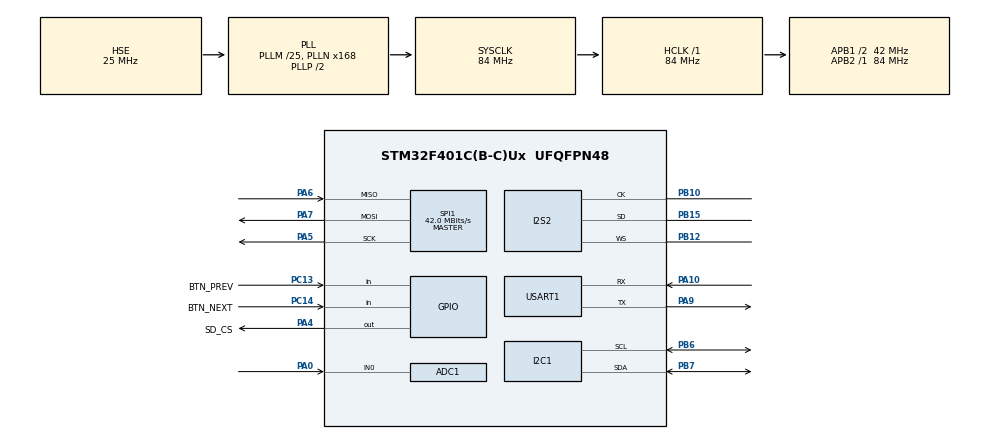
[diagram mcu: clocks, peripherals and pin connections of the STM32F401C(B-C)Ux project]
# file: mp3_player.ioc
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ADC1.Channel-1\#ChannelRegularConversion=ADC_CHANNEL_0
ADC1.NbrOfConversionFlag=1
ADC1.Rank-1\#ChannelRegularConversion=1
ADC1.SamplingTime-1\#ChannelRegularConversion=ADC_SAMPLETIME_3CYCLES
ADC1.master=1
Dma.Request0=SPI2_TX
Dma.SPI2_TX.0.Direction=DMA_MEMORY_TO_PERIPH
Dma.SPI2_TX.0.FIFOMode=DMA_FIFOMODE_DISABLE
Dma.SPI2_TX.0.Instance=DMA1_Stream4
Dma.SPI2_TX.0.MemDataAlignment=DMA_MDATAALIGN_HALFWORD
Dma.SPI2_TX.0.MemInc=DMA_MINC_ENABLE
Dma.SPI2_TX.0.Mode=DMA_CIRCULAR
Dma.SPI2_TX.0.PeriphDataAlignment=DMA_PDATAALIGN_HALFWORD
Dma.SPI2_TX.0.PeriphInc=DMA_PINC_DISABLE
Dma.SPI2_TX.0.Priority=DMA_PRIORITY_LOW
FATFS._USE_LFN=3
FREERTOS.BinarySemaphores01=dmaSem,Dynamic,NULL,Available
FREERTOS.Tasks01=defaultTask,24,1024,StartDefaultTask,Default,NULL,Dynamic,NULL,NULL;AudioTask,40,2048,StartAudioTask,Default,NULL,Dynamic,NULL,NULL
I2C1.I2C_Mode=I2C_Fast
I2S2.AudioFreq=I2S_AUDIOFREQ_48K
I2S2.ErrorAudioFreq=0.15 %
I2S2.FullDuplexMode=I2S_FULLDUPLEXMODE_DISABLE
I2S2.Instance=SPI$Index
I2S2.RealAudioFreq=48.076 KHz
I2S2.VirtualMode=I2S_MODE_MASTER
Mcu.Family=STM32F4
Mcu.Name=STM32F401C(B-C)Ux
Mcu.Package=UFQFPN48
NVIC.DMA1_Stream4_IRQn=true\:5\:0\:false\:false\:true\:true\:false\:true\:true
NVIC.PriorityGroup=NVIC_PRIORITYGROUP_4
NVIC.SPI2_IRQn=true\:5\:0\:false\:false\:true\:true\:true\:true\:true
NVIC.TIM3_IRQn=true\:15\:0\:false\:false\:true\:false\:false\:true\:true
NVIC.TimeBase=TIM3_IRQn
NVIC.TimeBaseIP=TIM3
PA0-WKUP.Signal=ADCx_IN0
PA10.Mode=Asynchronous
PA10.Signal=USART1_RX
PA13.Mode=Serial_Wire
PA13.Signal=SYS_JTMS-SWDIO
PA14.Mode=Serial_Wire
PA14.Signal=SYS_JTCK-SWCLK
PA4.GPIO_Label=SD_CS
PA4.PinState=GPIO_PIN_SET
PA4.Signal=GPIO_Output
PA5.Mode=Full_Duplex_Master
PA5.Signal=SPI1_SCK
PA6.Mode=Full_Duplex_Master
PA6.Signal=SPI1_MISO
PA7.Mode=Full_Duplex_Master
PA7.Signal=SPI1_MOSI
PA9.Mode=Asynchronous
PA9.Signal=USART1_TX
PB10.Mode=Half_Duplex_Master
PB10.Signal=I2S2_CK
PB12.Mode=Half_Duplex_Master
PB12.Signal=I2S2_WS
PB15.Mode=Half_Duplex_Master
PB15.Signal=I2S2_SD
PB6.GPIO_Pu=GPIO_PULLUP
PB6.Mode=I2C
PB6.Signal=I2C1_SCL
PB7.GPIO_Pu=GPIO_PULLUP
PB7.Mode=I2C
PB7.Signal=I2C1_SDA
PC13-ANTI_TAMP.GPIO_Label=BTN_PREV
PC13-ANTI_TAMP.GPIO_PuPd=GPIO_PULLDOWN
PC13-ANTI_TAMP.Signal=GPIO_Input
PC14-OSC32_IN.GPIO_Label=BTN_NEXT
PC14-OSC32_IN.GPIO_PuPd=GPIO_PULLDOWN
PC14-OSC32_IN.Signal=GPIO_Input
PH0\ -\ OSC_IN.Mode=HSE-External-Oscillator
PH0\ -\ OSC_IN.Signal=RCC_OSC_IN
PH1\ -\ OSC_OUT.Mode=HSE-External-Oscillator
PH1\ -\ OSC_OUT.Signal=RCC_OSC_OUT
ProjectManager.HeapSize=0x200
ProjectManager.StackSize=0x400
ProjectManager.TargetToolchain=STM32CubeIDE
RCC.48MHZClocksFreq_Value=42000000
RCC.AHBFreq_Value=84000000
RCC.APB1CLKDivider=RCC_HCLK_DIV2
RCC.APB1Freq_Value=42000000
RCC.APB1TimFreq_Value=84000000
RCC.APB2Freq_Value=84000000
RCC.APB2TimFreq_Value=84000000
RCC.CortexFreq_Value=84000000
RCC.HCLKFreq_Value=84000000
RCC.HSE_VALUE=25000000
RCC.HSI_VALUE=16000000
RCC.LSE_VALUE=32768
RCC.PLLI2SN=240
RCC.PLLM=25
RCC.PLLN=168
RCC.PLLSourceVirtual=RCC_PLLSOURCE_HSE
RCC.SYSCLKFreq_VALUE=84000000
RCC.SYSCLKSource=RCC_SYSCLKSOURCE_PLLCLK
RCC.VCOOutputFreq_Value=168000000
SH.ADCx_IN0.0=ADC1_IN0,IN0
SPI1.BaudRatePrescaler=SPI_BAUDRATEPRESCALER_2
SPI1.CalculateBaudRate=42.0 MBits/s
SPI1.Direction=SPI_DIRECTION_2LINES
SPI1.Mode=SPI_MODE_MASTER
SPI1.VirtualType=VM_MASTER
USART1.VirtualMode=VM_ASYNC
VP_FATFS_VS_Generic.Mode=User_defined
VP_FREERTOS_VS_CMSIS_V2.Mode=CMSIS_V2
VP_SYS_VS_tim3.Mode=TIM3
board=custom

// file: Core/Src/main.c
/* USER CODE BEGIN Header */
/**
  ******************************************************************************
  * @file           : main.c
  * @brief          : Main program body
  ******************************************************************************
  * @attention
  *
  * Copyright (c) 2026 STMicroelectronics.
  * All rights reserved.
  *
  * This software is licensed under terms that can be found in the LICENSE file
  * in the root directory of this software component.
  * If no LICENSE file comes with this software, it is provided AS-IS.
  *
  ******************************************************************************
  */
/* USER CODE END Header */
#include "main.h"
#include "cmsis_os.h"
#include "fatfs.h"

/* USER CODE BEGIN Includes */
#include "app_player.h"
#include "app_sync.h"
/* USER CODE END Includes */

ADC_HandleTypeDef hadc1;

I2C_HandleTypeDef hi2c1;

I2S_HandleTypeDef hi2s2;
DMA_HandleTypeDef hdma_spi2_tx;

SPI_HandleTypeDef hspi1;

UART_HandleTypeDef huart1;

/* Definitions for defaultTask */
osThreadId_t defaultTaskHandle;
const osThreadAttr_t defaultTask_attributes = {
  .name = "defaultTask",
  .stack_size = 1024 * 4,
  .priority = (osPriority_t) osPriorityNormal,
};
/* Definitions for AudioTask */
osThreadId_t AudioTaskHandle;
const osThreadAttr_t AudioTask_attributes = {
  .name = "AudioTask",
  .stack_size = 2048 * 4,
  .priority = (osPriority_t) osPriorityHigh,
};
/* Definitions for dmaSem */
osSemaphoreId_t dmaSemHandle;
const osSemaphoreAttr_t dmaSem_attributes = {
  .name = "dmaSem"
};
/* USER CODE BEGIN PV */
osMutexId_t appMutexHandle;
const osMutexAttr_t appMutex_attributes = {
  .name = "appMutex"
};
osMessageQueueId_t cmdQueueHandle;
const osMessageQueueAttr_t cmdQueue_attributes = {
  .name = "cmdQueue"
};
/* USER CODE END PV */

void SystemClock_Config(void);
static void MX_GPIO_Init(void);
static void MX_DMA_Init(void);
static void MX_SPI1_Init(void);
static void MX_USART1_UART_Init(void);
static void MX_I2S2_Init(void);
static void MX_I2C1_Init(void);
static void MX_ADC1_Init(void);
void StartDefaultTask(void *argument);
void StartAudioTask(void *argument);

/* USER CODE BEGIN 0 */

int _write(int file, char *ptr, int len)
{
  (void)file;
  HAL_UART_Transmit(&huart1, (uint8_t *)ptr, len, 100);
  return len;
}

/* USER CODE END 0 */

int main(void)
{

  /* MCU Configuration--------------------------------------------------------*/

  /* Reset of all peripherals, Initializes the Flash interface and the Systick. */
  HAL_Init();

  /* Configure the system clock */
  SystemClock_Config();

  /* Initialize all configured peripherals */
  MX_GPIO_Init();
  MX_DMA_Init();
  MX_SPI1_Init();
  MX_USART1_UART_Init();
  MX_FATFS_Init();
  MX_I2S2_Init();
  MX_I2C1_Init();
  MX_ADC1_Init();

  /* Init scheduler */
  osKernelInitialize();

  /* USER CODE BEGIN RTOS_MUTEX */
  appMutexHandle = osMutexNew(&appMutex_attributes);
  /* USER CODE END RTOS_MUTEX */

  /* Create the semaphores(s) */
  /* creation of dmaSem */
  dmaSemHandle = osSemaphoreNew(4, 0, &dmaSem_attributes);

  /* USER CODE BEGIN RTOS_SEMAPHORES */
  /* (only dmaSem is created above) */
  /* USER CODE END RTOS_SEMAPHORES */

  /* USER CODE BEGIN RTOS_QUEUES */
  cmdQueueHandle = osMessageQueueNew(CMD_QUEUE_LEN, sizeof(PlayerCmd_t),
      &cmdQueue_attributes);
  /* USER CODE END RTOS_QUEUES */

  /* Create the thread(s) */
  /* creation of defaultTask */
  defaultTaskHandle = osThreadNew(StartDefaultTask, NULL, &defaultTask_attributes);

  /* creation of AudioTask */
  AudioTaskHandle = osThreadNew(StartAudioTask, NULL, &AudioTask_attributes);

  /* Start scheduler */
  osKernelStart();

  /* We should never get here as control is now taken by the scheduler */

  /* Infinite loop */
  while (1)
  {
  }

}

void SystemClock_Config(void)
{
  RCC_OscInitTypeDef RCC_OscInitStruct = {0};
  RCC_ClkInitTypeDef RCC_ClkInitStruct = {0};

  /** Configure the main internal regulator output voltage
  */
  __HAL_RCC_PWR_CLK_ENABLE();
  __HAL_PWR_VOLTAGESCALING_CONFIG(PWR_REGULATOR_VOLTAGE_SCALE2);

  /** Initializes the RCC Oscillators according to the specified parameters
  * in the RCC_OscInitTypeDef structure.
  */
  RCC_OscInitStruct.OscillatorType = RCC_OSCILLATORTYPE_HSE;
  RCC_OscInitStruct.HSEState = RCC_HSE_ON;
  RCC_OscInitStruct.PLL.PLLState = RCC_PLL_ON;
  RCC_OscInitStruct.PLL.PLLSource = RCC_PLLSOURCE_HSE;
  RCC_OscInitStruct.PLL.PLLM = 25;
  RCC_OscInitStruct.PLL.PLLN = 168;
  RCC_OscInitStruct.PLL.PLLP = RCC_PLLP_DIV2;
  RCC_OscInitStruct.PLL.PLLQ = 4;
  if (HAL_RCC_OscConfig(&RCC_OscInitStruct) != HAL_OK)
  {
    Error_Handler();
  }

  /** Initializes the CPU, AHB and APB buses clocks
  */
  RCC_ClkInitStruct.ClockType = RCC_CLOCKTYPE_HCLK|RCC_CLOCKTYPE_SYSCLK
                              |RCC_CLOCKTYPE_PCLK1|RCC_CLOCKTYPE_PCLK2;
  RCC_ClkInitStruct.SYSCLKSource = RCC_SYSCLKSOURCE_PLLCLK;
  RCC_ClkInitStruct.AHBCLKDivider = RCC_SYSCLK_DIV1;
  RCC_ClkInitStruct.APB1CLKDivider = RCC_HCLK_DIV2;
  RCC_ClkInitStruct.APB2CLKDivider = RCC_HCLK_DIV1;

  if (HAL_RCC_ClockConfig(&RCC_ClkInitStruct, FLASH_LATENCY_2) != HAL_OK)
  {
    Error_Handler();
  }
}

static void MX_ADC1_Init(void)
{

  ADC_ChannelConfTypeDef sConfig = {0};

  /** Configure the global features of the ADC (Clock, Resolution, Data Alignment and number of conversion)
  */
  hadc1.Instance = ADC1;
  hadc1.Init.ClockPrescaler = ADC_CLOCK_SYNC_PCLK_DIV4;
  hadc1.Init.Resolution = ADC_RESOLUTION_12B;
  hadc1.Init.ScanConvMode = DISABLE;
  hadc1.Init.ContinuousConvMode = DISABLE;
  hadc1.Init.DiscontinuousConvMode = DISABLE;
  hadc1.Init.ExternalTrigConvEdge = ADC_EXTERNALTRIGCONVEDGE_NONE;
  hadc1.Init.ExternalTrigConv = ADC_SOFTWARE_START;
  hadc1.Init.DataAlign = ADC_DATAALIGN_RIGHT;
  hadc1.Init.NbrOfConversion = 1;
  hadc1.Init.DMAContinuousRequests = DISABLE;
  hadc1.Init.EOCSelection = ADC_EOC_SINGLE_CONV;
  if (HAL_ADC_Init(&hadc1) != HAL_OK)
  {
    Error_Handler();
  }

  /** Configure for the selected ADC regular channel its corresponding rank in the sequencer and its sample time.
  */
  sConfig.Channel = ADC_CHANNEL_0;
  sConfig.Rank = 1;
  sConfig.SamplingTime = ADC_SAMPLETIME_3CYCLES;
  if (HAL_ADC_ConfigChannel(&hadc1, &sConfig) != HAL_OK)
  {
    Error_Handler();
  }

}

static void MX_I2C1_Init(void)
{

  hi2c1.Instance = I2C1;
  hi2c1.Init.ClockSpeed = 400000;
  hi2c1.Init.DutyCycle = I2C_DUTYCYCLE_2;
  hi2c1.Init.OwnAddress1 = 0;
  hi2c1.Init.AddressingMode = I2C_ADDRESSINGMODE_7BIT;
  hi2c1.Init.DualAddressMode = I2C_DUALADDRESS_DISABLE;
  hi2c1.Init.OwnAddress2 = 0;
  hi2c1.Init.GeneralCallMode = I2C_GENERALCALL_DISABLE;
  hi2c1.Init.NoStretchMode = I2C_NOSTRETCH_DISABLE;
  if (HAL_I2C_Init(&hi2c1) != HAL_OK)
  {
    Error_Handler();
  }

}

static void MX_I2S2_Init(void)
{

  hi2s2.Instance = SPI2;
  hi2s2.Init.Mode = I2S_MODE_MASTER_TX;
  hi2s2.Init.Standard = I2S_STANDARD_PHILIPS;
  hi2s2.Init.DataFormat = I2S_DATAFORMAT_16B;
  hi2s2.Init.MCLKOutput = I2S_MCLKOUTPUT_DISABLE;
  hi2s2.Init.AudioFreq = I2S_AUDIOFREQ_48K;
  hi2s2.Init.CPOL = I2S_CPOL_LOW;
  hi2s2.Init.ClockSource = I2S_CLOCK_PLL;
  hi2s2.Init.FullDuplexMode = I2S_FULLDUPLEXMODE_DISABLE;
  if (HAL_I2S_Init(&hi2s2) != HAL_OK)
  {
    Error_Handler();
  }

}

static void MX_SPI1_Init(void)
{

  /* SPI1 parameter configuration*/
  hspi1.Instance = SPI1;
  hspi1.Init.Mode = SPI_MODE_MASTER;
  hspi1.Init.Direction = SPI_DIRECTION_2LINES;
  hspi1.Init.DataSize = SPI_DATASIZE_8BIT;
  hspi1.Init.CLKPolarity = SPI_POLARITY_LOW;
  hspi1.Init.CLKPhase = SPI_PHASE_1EDGE;
  hspi1.Init.NSS = SPI_NSS_SOFT;
  hspi1.Init.BaudRatePrescaler = SPI_BAUDRATEPRESCALER_2;
  hspi1.Init.FirstBit = SPI_FIRSTBIT_MSB;
  hspi1.Init.TIMode = SPI_TIMODE_DISABLE;
  hspi1.Init.CRCCalculation = SPI_CRCCALCULATION_DISABLE;
  hspi1.Init.CRCPolynomial = 10;
  if (HAL_SPI_Init(&hspi1) != HAL_OK)
  {
    Error_Handler();
  }

}

static void MX_USART1_UART_Init(void)
{

  huart1.Instance = USART1;
  huart1.Init.BaudRate = 115200;
  huart1.Init.WordLength = UART_WORDLENGTH_8B;
  huart1.Init.StopBits = UART_STOPBITS_1;
  huart1.Init.Parity = UART_PARITY_NONE;
  huart1.Init.Mode = UART_MODE_TX_RX;
  huart1.Init.HwFlowCtl = UART_HWCONTROL_NONE;
  huart1.Init.OverSampling = UART_OVERSAMPLING_16;
  if (HAL_UART_Init(&huart1) != HAL_OK)
  {
    Error_Handler();
  }

}

static void MX_DMA_Init(void)
{

  /* DMA controller clock enable */
  __HAL_RCC_DMA1_CLK_ENABLE();

  /* DMA interrupt init */
  /* DMA1_Stream4_IRQn interrupt configuration */
  HAL_NVIC_SetPriority(DMA1_Stream4_IRQn, 5, 0);
  HAL_NVIC_EnableIRQ(DMA1_Stream4_IRQn);

}

static void MX_GPIO_Init(void)
{
  GPIO_InitTypeDef GPIO_InitStruct = {0};

  /* GPIO Ports Clock Enable */
  __HAL_RCC_GPIOC_CLK_ENABLE();
  __HAL_RCC_GPIOH_CLK_ENABLE();
  __HAL_RCC_GPIOA_CLK_ENABLE();
  __HAL_RCC_GPIOB_CLK_ENABLE();

  /*Configure GPIO pin Output Level */
  HAL_GPIO_WritePin(SD_CS_GPIO_Port, SD_CS_Pin, GPIO_PIN_SET);

  /*Configure GPIO pins : BTN_PREV_Pin BTN_NEXT_Pin */
  GPIO_InitStruct.Pin = BTN_PREV_Pin|BTN_NEXT_Pin;
  GPIO_InitStruct.Mode = GPIO_MODE_INPUT;
  GPIO_InitStruct.Pull = GPIO_PULLDOWN;
  HAL_GPIO_Init(GPIOC, &GPIO_InitStruct);

  /*Configure GPIO pin : SD_CS_Pin */
  GPIO_InitStruct.Pin = SD_CS_Pin;
  GPIO_InitStruct.Mode = GPIO_MODE_OUTPUT_PP;
  GPIO_InitStruct.Pull = GPIO_NOPULL;
  GPIO_InitStruct.Speed = GPIO_SPEED_FREQ_LOW;
  HAL_GPIO_Init(SD_CS_GPIO_Port, &GPIO_InitStruct);

}

void StartDefaultTask(void *argument)
{
  /* USER CODE BEGIN 5 */
  (void)argument;

  App_DefaultTask_Init();

  for (;;)
  {
    App_DefaultTask_Loop();
  }
  /* USER CODE END 5 */
}

void StartAudioTask(void *argument)
{
  /* USER CODE BEGIN StartAudioTask */
  (void)argument;
  App_AudioTask_Run();
  /* USER CODE END StartAudioTask */
}

void HAL_TIM_PeriodElapsedCallback(TIM_HandleTypeDef *htim)
{
  if (htim->Instance == TIM3)
  {
    HAL_IncTick();
  }
}

void Error_Handler(void)
{
  __disable_irq();
  while (1)
  {
  }
}
